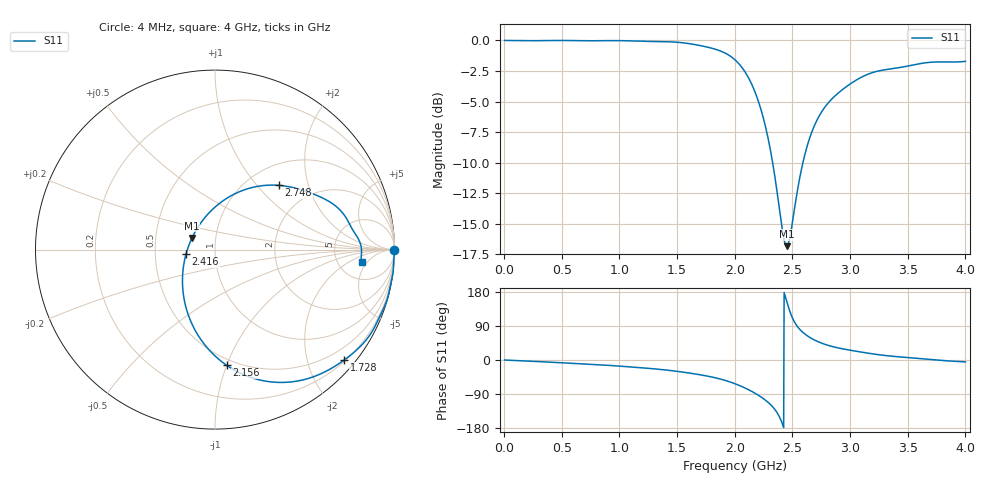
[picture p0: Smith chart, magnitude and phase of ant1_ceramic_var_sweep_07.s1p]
! TOUCHSTONE file generated by CST MICROWAVE STUDIO
! Date and time: Fri May  6 09:22:49 2022
! Project name: ant1_ceramic_sweep_10porcent.cst
! Parameters = {e=0.035; h=1.6; i=0.8; l1=0.495; l2=17; ls=80; wl=1.7; ws=30}
! Header version: 2018
! Port assignment regex: !\s*Touchstone port\s*([0-9]+)\s*=\s*(CST MWS port|CST DS port)\s*([0-9]+|Zmin|Zmax)\s*\(\"(.*)\"\)(\s*mode\s*([0-9]+))?.*
! Touchstone port assignment:
! Touchstone port 1 = CST MWS port 1 ("")
# GHz S DB R 50
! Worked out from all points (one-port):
!   1000 points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, 4 MHz to 4 GHz, reference 50 ohm
!   lowest |S11| = -16.8 dB at 2.452 GHz (marker M1), VSWR 1.34, Z = 38.3 + j5.04 ohm
!   |S11| at or under -10 dB: 2.328 GHz to 2.591 GHz (262.7 MHz wide, 10.7 % of centre)
!   S11 on the Smith chart (normalised r, x): 4 MHz: open; 1.728 GHz: 0.23, -2.69; 2.156 GHz: 0.45, -1.00; 2.416 GHz: 0.72, -0.04; 2.748 GHz: 1.37, +1.32; 4 GHz: 8.54, -3.72
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0.004  -0.00 -0.1
0.504  -0.00 -7.4
1.004  -0.01 -16.2
1.332  -0.09 -24.2
1.504  -0.15 -30.1
1.728  -0.47 -40.5
1.876  -0.86 -50.3
2.004  -1.60 -62.9
2.084  -2.50 -73.2
2.156  -3.77 -84.3
2.232  -5.81 -98.4
2.296  -8.34 -113.6
2.356  -11.68 -134.0
2.416  -15.73 -171.1
2.436  -16.64 170.0
2.452  -16.85 153.4
2.476  -16.21 129.8
2.504  -14.64 108.4
2.56  -11.41 82.2
2.612  -9.19 67.6
2.676  -7.31 55.2
2.748  -5.93 45.1
2.856  -4.66 34.7
3.004  -3.54 25.6
3.216  -2.57 15.3
3.504  -2.09 6.4
3.7  -1.78 1.2
4  -1.71 -5.0
